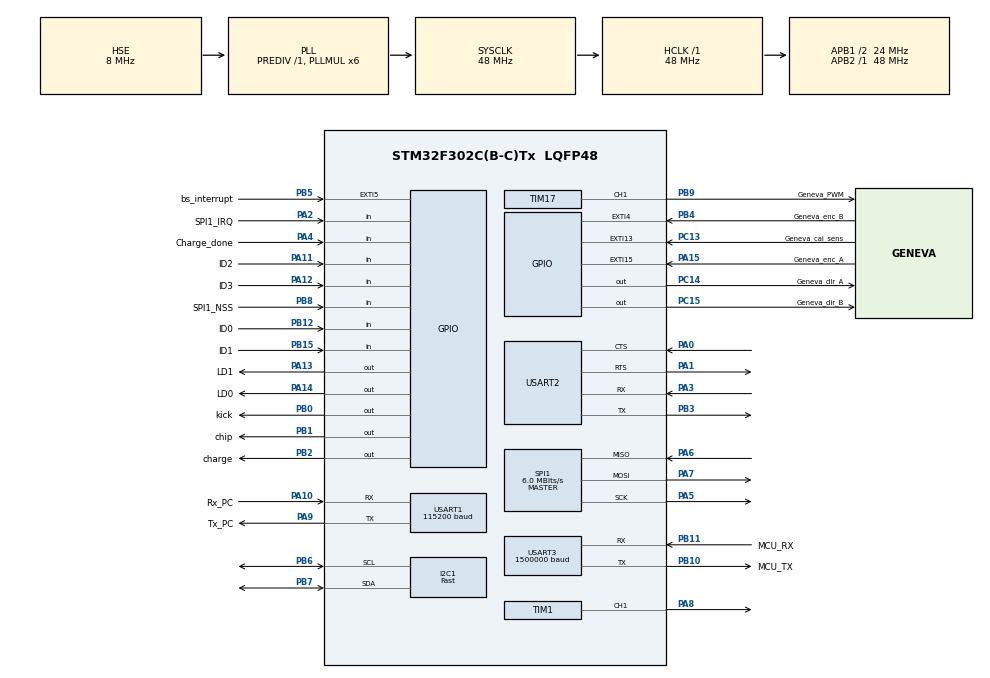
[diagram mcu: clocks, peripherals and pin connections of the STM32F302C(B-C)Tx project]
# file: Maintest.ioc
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Dma.Request0=USART3_RX
Dma.Request1=USART3_TX
Dma.USART3_RX.0.Direction=DMA_PERIPH_TO_MEMORY
Dma.USART3_RX.0.Instance=DMA1_Channel3
Dma.USART3_RX.0.MemDataAlignment=DMA_MDATAALIGN_BYTE
Dma.USART3_RX.0.MemInc=DMA_MINC_ENABLE
Dma.USART3_RX.0.Mode=DMA_NORMAL
Dma.USART3_RX.0.PeriphDataAlignment=DMA_PDATAALIGN_BYTE
Dma.USART3_RX.0.PeriphInc=DMA_PINC_DISABLE
Dma.USART3_RX.0.Priority=DMA_PRIORITY_LOW
Dma.USART3_TX.1.Direction=DMA_MEMORY_TO_PERIPH
Dma.USART3_TX.1.Instance=DMA1_Channel2
Dma.USART3_TX.1.MemDataAlignment=DMA_MDATAALIGN_BYTE
Dma.USART3_TX.1.MemInc=DMA_MINC_ENABLE
Dma.USART3_TX.1.Mode=DMA_NORMAL
Dma.USART3_TX.1.PeriphDataAlignment=DMA_PDATAALIGN_BYTE
Dma.USART3_TX.1.PeriphInc=DMA_PINC_DISABLE
Dma.USART3_TX.1.Priority=DMA_PRIORITY_LOW
I2C1.I2C_Speed_Mode=I2C_Fast
I2C1.Timing=0x0000020B
Mcu.Family=STM32F3
Mcu.Name=STM32F302C(B-C)Tx
Mcu.Package=LQFP48
NVIC.DMA1_Channel2_IRQn=true\:0\:0\:false\:false\:true\:false
NVIC.DMA1_Channel3_IRQn=true\:0\:0\:false\:false\:true\:false
NVIC.I2C1_ER_IRQn=true\:0\:0\:false\:false\:true\:true
NVIC.I2C1_EV_IRQn=true\:0\:0\:false\:false\:true\:true
NVIC.PriorityGroup=NVIC_PRIORITYGROUP_4
NVIC.TIM2_IRQn=true\:0\:0\:false\:false\:true\:true
NVIC.TIM6_DAC_IRQn=true\:0\:0\:false\:false\:true\:true
NVIC.USART1_IRQn=true\:0\:0\:false\:false\:true\:true
NVIC.USART3_IRQn=true\:0\:0\:false\:false\:true\:true
PA0.Mode=CTS_RTS
PA0.Signal=USART2_CTS
PA1.Mode=CTS_RTS
PA1.Signal=USART2_RTS
PA10.GPIO_Label=Rx_PC
PA10.Mode=Asynchronous
PA10.Signal=USART1_RX
PA11.GPIO_Label=ID2
PA11.Signal=GPIO_Input
PA12.GPIO_Label=ID3
PA12.Signal=GPIO_Input
PA13.GPIO_Label=LD1
PA13.Signal=GPIO_Output
PA14.GPIO_Label=LD0
PA14.Signal=GPIO_Output
PA15.GPIO_Label=Geneva_enc_A
PA15.Signal=GPXTI15
PA2.GPIO_Label=SPI1_IRQ
PA2.Signal=GPIO_Input
PA3.Mode=Asynchronous
PA3.Signal=USART2_RX
PA4.GPIO_Label=Charge_done
PA4.Signal=GPIO_Input
PA5.Mode=Full_Duplex_Master
PA5.Signal=SPI1_SCK
PA6.Mode=Full_Duplex_Master
PA6.Signal=SPI1_MISO
PA7.Mode=Full_Duplex_Master
PA7.Signal=SPI1_MOSI
PA8.Signal=S_TIM1_CH1
PA9.GPIO_Label=Tx_PC
PA9.Mode=Asynchronous
PA9.Signal=USART1_TX
PB0.GPIO_Label=kick
PB0.Signal=GPIO_Output
PB1.GPIO_Label=chip
PB1.Signal=GPIO_Output
PB10.GPIO_Label=MCU_TX
PB10.Mode=Asynchronous
PB10.Signal=USART3_TX
PB11.GPIO_Label=MCU_RX
PB11.Mode=Asynchronous
PB11.Signal=USART3_RX
PB12.GPIO_Label=ID0
PB12.Signal=GPIO_Input
PB15.GPIO_Label=ID1
PB15.Signal=GPIO_Input
PB2.GPIO_Label=charge
PB2.Signal=GPIO_Output
PB3.Mode=Asynchronous
PB3.Signal=USART2_TX
PB4.GPIO_Label=Geneva_enc_B
PB4.Signal=GPXTI4
PB5.GPIO_Label=bs_interrupt
PB5.Signal=GPXTI5
PB6.Mode=I2C
PB6.Signal=I2C1_SCL
PB7.Mode=I2C
PB7.Signal=I2C1_SDA
PB8.GPIO_Label=SPI1_NSS
PB8.Signal=GPIO_Input
PB9.GPIO_Label=Geneva_PWM
PB9.Signal=S_TIM17_CH1
PC13.GPIO_Label=Geneva_cal_sens
PC13.Signal=GPXTI13
PC14-OSC32_IN.GPIO_Label=Geneva_dir_A
PC14-OSC32_IN.Signal=GPIO_Output
PC15-OSC32_OUT.GPIO_Label=Geneva_dir_B
PC15-OSC32_OUT.Signal=GPIO_Output
PF0-OSC_IN.Mode=HSE-External-Clock-Source
PF0-OSC_IN.Signal=RCC_OSC_IN
ProjectManager.HeapSize=0x200
ProjectManager.StackSize=0x400
ProjectManager.TargetToolchain=SW4STM32
RCC.AHBFreq_Value=48000000
RCC.APB1CLKDivider=RCC_HCLK_DIV2
RCC.APB1Freq_Value=24000000
RCC.APB1TimFreq_Value=48000000
RCC.APB2Freq_Value=48000000
RCC.APB2TimFreq_Value=48000000
RCC.CortexFreq_Value=48000000
RCC.HCLKFreq_Value=48000000
RCC.HSE_Timout=1000
RCC.HSE_VALUE=8000000
RCC.HSI_VALUE=8000000
RCC.LSE_VALUE=32768
RCC.PLLMUL=RCC_PLL_MUL6
RCC.PLLSourceVirtual=RCC_PLLSOURCE_HSE
RCC.SYSCLKFreq_VALUE=48000000
RCC.SYSCLKSourceVirtual=RCC_SYSCLKSOURCE_PLLCLK
RCC.USBFreq_Value=48000000
SH.S_TIM17_CH1.0=TIM17_CH1,PWM Generation1 CH1
SH.S_TIM1_CH1.0=TIM1_CH1,PWM Generation1 CH1
SPI1.BaudRatePrescaler=SPI_BAUDRATEPRESCALER_8
SPI1.CalculateBaudRate=6.0 MBits/s
SPI1.Direction=SPI_DIRECTION_2LINES
SPI1.Mode=SPI_MODE_MASTER
SPI1.VirtualType=VM_MASTER
TIM1.Channel-PWM\ Generation1\ CH1=TIM_CHANNEL_1
TIM1.Period=2400
TIM17.Channel=TIM_CHANNEL_1
TIM17.Period=2400
TIM2.Period=10000
TIM2.Prescaler=47
TIM6.Period=10000
TIM6.Prescaler=47
USART1.BaudRate=115200
USART1.SwapParam=ADVFEATURE_SWAP_ENABLE
USART1.VirtualMode-Asynchronous=VM_ASYNC
USART2.VirtualMode-Asynchronous=VM_ASYNC
USART3.BaudRate=1500000
USART3.VirtualMode-Asynchronous=VM_ASYNC
VP_TIM17_VS_ClockSourceINT.Mode=Enable_Timer
VP_TIM2_VS_ClockSourceINT.Mode=Internal
VP_TIM6_VS_ClockSourceINT.Mode=Enable_Timer
board=Maintest

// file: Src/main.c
/**
  ******************************************************************************
  * @file           : main.c
  * @brief          : Main program body
  ******************************************************************************
  ** This notice applies to any and all portions of this file
  * that are not between comment pairs USER CODE BEGIN and
  * USER CODE END. Other portions of this file, whether
  * inserted by the user or by software development tools
  * are owned by their respective copyright owners.
  *
  * COPYRIGHT(c) 2018 STMicroelectronics
  *
  * Redistribution and use in source and binary forms, with or without modification,
  * are permitted provided that the following conditions are met:
  *   1. Redistributions of source code must retain the above copyright notice,
  *      this list of conditions and the following disclaimer.
  *   2. Redistributions in binary form must reproduce the above copyright notice,
  *      this list of conditions and the following disclaimer in the documentation
  *      and/or other materials provided with the distribution.
  *   3. Neither the name of STMicroelectronics nor the names of its contributors
  *      may be used to endorse or promote products derived from this software
  *      without specific prior written permission.
  *
  * THIS SOFTWARE IS PROVIDED BY THE COPYRIGHT HOLDERS AND CONTRIBUTORS "AS IS"
  * AND ANY EXPRESS OR IMPLIED WARRANTIES, INCLUDING, BUT NOT LIMITED TO, THE
  * IMPLIED WARRANTIES OF MERCHANTABILITY AND FITNESS FOR A PARTICULAR PURPOSE ARE
  * DISCLAIMED. IN NO EVENT SHALL THE COPYRIGHT HOLDER OR CONTRIBUTORS BE LIABLE
  * FOR ANY DIRECT, INDIRECT, INCIDENTAL, SPECIAL, EXEMPLARY, OR CONSEQUENTIAL
  * DAMAGES (INCLUDING, BUT NOT LIMITED TO, PROCUREMENT OF SUBSTITUTE GOODS OR
  * SERVICES; LOSS OF USE, DATA, OR PROFITS; OR BUSINESS INTERRUPTION) HOWEVER
  * CAUSED AND ON ANY THEORY OF LIABILITY, WHETHER IN CONTRACT, STRICT LIABILITY,
  * OR TORT (INCLUDING NEGLIGENCE OR OTHERWISE) ARISING IN ANY WAY OUT OF THE USE
  * OF THIS SOFTWARE, EVEN IF ADVISED OF THE POSSIBILITY OF SUCH DAMAGE.
  *
  ******************************************************************************
  */
#include "main.h"
#include "stm32f3xx_hal.h"
#include "dma.h"
#include "i2c.h"
#include "spi.h"
#include "tim.h"
#include "usart.h"
#include "gpio.h"

/* USER CODE BEGIN Includes */
#include "PuttyInterface/PuttyInterface.h"
#include "motorscomm/motorscomm.h"
#include "ID/ReadId.h"
/* USER CODE END Includes */

/* USER CODE BEGIN PV */
/* Private variables ---------------------------------------------------------*/
PuttyInterfaceTypeDef puttystruct;
motorscomm_HandleTypeDef motorscommstruct = {
		.huart = &huart3
};

enum motorscomm_states{
	motorscomm_Initialize,
	motorscomm_StartTransmission,
	motorscomm_Transmitting,
	motorscomm_TransmitDone,
	motorscomm_Idle,
	motorscomm_ResponseReceived,
	motorscomm_Failed
}motorscomm_state = motorscomm_Initialize;
int TX_err_count = 0;
int RX_err_count = 0;
int RX_count = 0;
int TX_count = 0;
/* USER CODE END PV */

void SystemClock_Config(void);

/* USER CODE BEGIN PFP */
/* Private function prototypes -----------------------------------------------*/
void HandleCommand(char* input);
/* USER CODE END PFP */

int main(void)
{

  /* MCU Configuration----------------------------------------------------------*/

  /* Reset of all peripherals, Initializes the Flash interface and the Systick. */
  HAL_Init();

  /* Configure the system clock */
  SystemClock_Config();

  /* Initialize all configured peripherals */
  MX_GPIO_Init();
  MX_DMA_Init();
  MX_USART1_UART_Init();
  MX_TIM1_Init();
  MX_SPI1_Init();
  MX_USART2_UART_Init();
  MX_TIM17_Init();
  MX_TIM6_Init();
  MX_I2C1_Init();
  MX_USART3_UART_Init();
  MX_TIM2_Init();
  /* USER CODE BEGIN 2 */

  puttystruct.handle = HandleCommand;
  PuttyInterface_Init(&puttystruct);

  motorscommstruct.TX_message.id[0] = motorscomm_LF;
  motorscommstruct.TX_message.id[1] = motorscomm_LB;
  motorscommstruct.TX_message.id[2] = motorscomm_RB;
  motorscommstruct.TX_message.id[3] = motorscomm_RF;
  //HAL_Delay(100);
  // enable UART transmission timer
  /* USER CODE END 2 */

  /* Infinite loop */
  /* USER CODE BEGIN WHILE */
  uint led_timer = 0;
  HAL_StatusTypeDef error_code;
  while (1)
  {
	  switch(motorscomm_state){
	  case motorscomm_Initialize:
		  uprintf("motorscomm_Initialize\n\r");
		  motorscomm_state = motorscomm_Idle;
		  HAL_TIM_Base_Start_IT(&htim6);
		  break;
	  case motorscomm_StartTransmission:
		  error_code = motorscomm_UART_StartTransmit(&motorscommstruct, 0);
		  if(error_code == HAL_OK){
			  // transmission successful
			  motorscomm_state = motorscomm_Transmitting;
			  //uprintf("motorscomm_state = motorscomm_Transmitting...\n\r");
		  }
		  else{
			  // transmission failed, trying again next while loop cycle
			  uprintf("Transmit failed error code:[%d]\n\r", error_code);
			  motorscomm_state = motorscomm_Failed;
			  RX_err_count++;
		  }
		  break;
	  case motorscomm_Transmitting:
		  break;
	  case motorscomm_TransmitDone:
		  error_code = motorscomm_HAL_UART_Receive(&motorscommstruct);
		  if(error_code == HAL_OK){
			  // start read successful
			  motorscomm_state = motorscomm_Idle;
		  }else{
			  // transmission failed, trying again next while loop cycle
			  uprintf("receive failed with error code:[%d]\n\r", error_code);
			  motorscomm_state = motorscomm_Failed;
		  }
		  break;
	  case motorscomm_Idle:
		  break;
	  case motorscomm_ResponseReceived:
		  motorscomm_DecodeBuf(&motorscommstruct);
		  motorscomm_state = motorscomm_Idle;
		  break;
	  case motorscomm_Failed:
		  HAL_GPIO_WritePin(LD0_GPIO_Port, LD0_Pin, 1);
		  break;
	  }
  /* USER CODE END WHILE */

  /* USER CODE BEGIN 3 */
	  PuttyInterface_Update(&puttystruct);
	  if(HAL_GetTick() > led_timer + 500 ){
		  led_timer = HAL_GetTick();
		  HAL_GPIO_TogglePin(LD1_GPIO_Port,LD1_Pin);
		  uprintf("suc/err:TX[%d/%d];RX[%d/%d]\n\r", TX_count, TX_err_count, RX_count, RX_err_count);
	  }
  }
  /* USER CODE END 3 */

}

void SystemClock_Config(void)
{

  RCC_OscInitTypeDef RCC_OscInitStruct;
  RCC_ClkInitTypeDef RCC_ClkInitStruct;
  RCC_PeriphCLKInitTypeDef PeriphClkInit;

    /**Initializes the CPU, AHB and APB busses clocks
    */
  RCC_OscInitStruct.OscillatorType = RCC_OSCILLATORTYPE_HSI|RCC_OSCILLATORTYPE_HSE;
  RCC_OscInitStruct.HSEState = RCC_HSE_BYPASS;
  RCC_OscInitStruct.HSEPredivValue = RCC_HSE_PREDIV_DIV1;
  RCC_OscInitStruct.HSIState = RCC_HSI_ON;
  RCC_OscInitStruct.HSICalibrationValue = 16;
  RCC_OscInitStruct.PLL.PLLState = RCC_PLL_ON;
  RCC_OscInitStruct.PLL.PLLSource = RCC_PLLSOURCE_HSE;
  RCC_OscInitStruct.PLL.PLLMUL = RCC_PLL_MUL6;
  if (HAL_RCC_OscConfig(&RCC_OscInitStruct) != HAL_OK)
  {
    _Error_Handler(__FILE__, __LINE__);
  }

    /**Initializes the CPU, AHB and APB busses clocks
    */
  RCC_ClkInitStruct.ClockType = RCC_CLOCKTYPE_HCLK|RCC_CLOCKTYPE_SYSCLK
                              |RCC_CLOCKTYPE_PCLK1|RCC_CLOCKTYPE_PCLK2;
  RCC_ClkInitStruct.SYSCLKSource = RCC_SYSCLKSOURCE_PLLCLK;
  RCC_ClkInitStruct.AHBCLKDivider = RCC_SYSCLK_DIV1;
  RCC_ClkInitStruct.APB1CLKDivider = RCC_HCLK_DIV2;
  RCC_ClkInitStruct.APB2CLKDivider = RCC_HCLK_DIV1;

  if (HAL_RCC_ClockConfig(&RCC_ClkInitStruct, FLASH_LATENCY_1) != HAL_OK)
  {
    _Error_Handler(__FILE__, __LINE__);
  }

  PeriphClkInit.PeriphClockSelection = RCC_PERIPHCLK_USART1|RCC_PERIPHCLK_USART2
                              |RCC_PERIPHCLK_USART3|RCC_PERIPHCLK_I2C1
                              |RCC_PERIPHCLK_TIM1;
  PeriphClkInit.Usart1ClockSelection = RCC_USART1CLKSOURCE_PCLK2;
  PeriphClkInit.Usart2ClockSelection = RCC_USART2CLKSOURCE_PCLK1;
  PeriphClkInit.Usart3ClockSelection = RCC_USART3CLKSOURCE_PCLK1;
  PeriphClkInit.I2c1ClockSelection = RCC_I2C1CLKSOURCE_HSI;
  PeriphClkInit.Tim1ClockSelection = RCC_TIM1CLK_HCLK;
  if (HAL_RCCEx_PeriphCLKConfig(&PeriphClkInit) != HAL_OK)
  {
    _Error_Handler(__FILE__, __LINE__);
  }

    /**Configure the Systick interrupt time
    */
  HAL_SYSTICK_Config(HAL_RCC_GetHCLKFreq()/1000);

    /**Configure the Systick
    */
  HAL_SYSTICK_CLKSourceConfig(SYSTICK_CLKSOURCE_HCLK);

  /* SysTick_IRQn interrupt configuration */
  HAL_NVIC_SetPriority(SysTick_IRQn, 0, 0);
}

/* USER CODE BEGIN 4 */

void HandleCommand(char* input){
	if(!strcmp(input, "start")){
		uprintf("started;>)\n\r");
	}else if(!strcmp(input, "stop")){
		uprintf("stopped\n\r");
	}else if(!strcmp(input, "address")){
		uprintf("address = [%d]\n\r", ReadAddress());
	}
}
void HAL_UART_RxCpltCallback(UART_HandleTypeDef *huart){
	if(huart->Instance == huart1.Instance){
		puttystruct.huart2_Rx_len = 1;
		puttystruct.small_buf[0] = *(huart->pRxBuffPtr-1);
	}else if(huart->Instance == huart3.Instance){
		if(motorscomm_state == motorscomm_Idle){
			motorscomm_state = motorscomm_ResponseReceived;
			motorscommstruct.UART2_Rx_flag = true;
			RX_count++;
		}else{
			uprintf("motorscomm_Failed from HAL_UART_RxCpltCallback\n\r");
			motorscomm_state = motorscomm_Failed;
		}
	}
}

void HAL_UART_TxCpltCallback(UART_HandleTypeDef *huart){
	if(huart->Instance == huart3.Instance){
		if(motorscomm_Transmitting == motorscomm_state){
			motorscomm_state = motorscomm_TransmitDone;
			TX_count++;
		}else{
			uprintf("motorscomm_Failed from HAL_UART_TxCpltCallback\n\r");
			motorscomm_state = motorscomm_Failed;
		}
	}
}

void HAL_TIM_PeriodElapsedCallback(TIM_HandleTypeDef *htim) {
	if (htim->Instance == TIM6){
		if (motorscomm_Idle != motorscomm_state){
			TX_err_count++;
			uprintf("motorscomm_Failed from HAL_TIM_PeriodElapsedCallback; state = [%d]\n\r", motorscomm_state);
			motorscomm_state = motorscomm_Failed;
			return;
		}
		motorscomm_state = motorscomm_StartTransmission;
		//uprintf("motorscomm_state = motorscomm_StartTransmission\n\r");
	}
}
/* USER CODE END 4 */

void _Error_Handler(char *file, int line)
{
  while(1)
  {
  }
}

/************************ (C) COPYRIGHT STMicroelectronics *****END OF FILE****/
